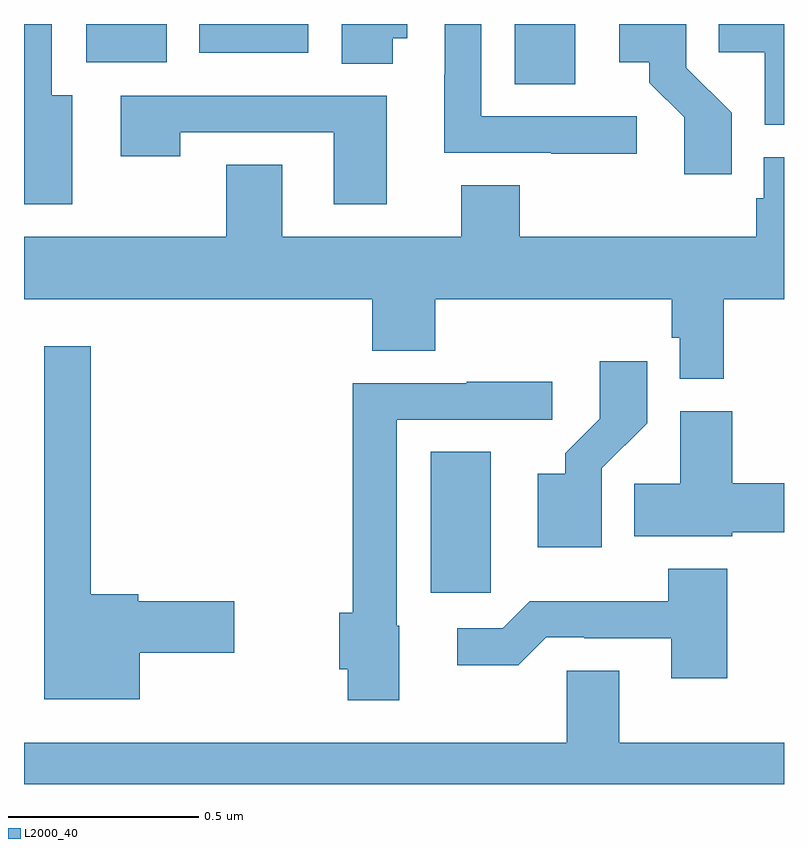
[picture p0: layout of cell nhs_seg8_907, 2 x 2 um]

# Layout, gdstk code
import gdstk
lib = gdstk.Library(unit=1e-6, precision=1e-09)
def R(c, l, rs):  # rectangles x0, y0, x1, y1
    for r in rs: c.add(gdstk.rectangle(r[:2], r[2:], *l))
def P(c, l, *ps):  # polygons
    for p in ps: c.add(gdstk.Polygon(p, *l))
L2000_40 = (2000, 40)

nhs_seg8_907 = lib.new_cell('nhs_seg8_907')
R(nhs_seg8_907, L2000_40, [(124.07,1106.403,124.228,1106.774), (124.292,1107.742,124.45,1107.9), (123.164,1107.8,123.376,1107.9), (123.461,1107.824,123.748,1107.9)])
P(nhs_seg8_907, L2000_40, [(124.862,1107.666),(124.743,1107.785),(124.743,1107.9),(124.566,1107.9),(124.566,1107.8),(124.646,1107.8),(124.646,1107.745),(124.737,1107.655),(124.737,1107.504),(124.862,1107.504)],
  [(123.97,1107.863),(124.009,1107.863),(124.009,1107.9),(123.836,1107.9),(123.836,1107.796),(123.97,1107.796)],
  [(123.127,1107.712),(123.073,1107.712),(123.073,1107.9),(123,1107.9),(123,1107.426),(123.127,1107.426)],
  [(124.612,1107.657),(124.203,1107.657),(124.203,1107.9),(124.107,1107.9),(124.107,1107.767),(124.106,1107.767),(124.106,1107.561),(124.387,1107.561),(124.387,1107.559),(124.612,1107.559)],
  [(125,1107.9),(124.828,1107.9),(124.828,1107.826),(124.949,1107.826),(124.949,1107.635),(125,1107.635)],
  [(123.955,1107.711),(123.255,1107.711),(123.255,1107.552),(123.411,1107.552),(123.411,1107.615),(123.815,1107.615),(123.815,1107.426),(123.955,1107.426)],
  [(124.841,1107.176),(125,1107.176),(125,1107.55),(124.947,1107.55),(124.947,1107.441),(124.927,1107.441),(124.927,1107.34),(124.304,1107.34),(124.304,1107.476),(124.151,1107.476),(124.151,1107.34),(123.679,1107.34),(123.679,1107.53),(123.532,1107.53),(123.532,1107.34),(123,1107.34),(123,1107.176),(123.917,1107.176),(123.917,1107.04),(124.082,1107.04),(124.082,1107.176),(124.705,1107.176),(124.705,1107.075),(124.725,1107.075),(124.725,1106.966),(124.841,1106.966)],
  [(123.304,1106.246),(123.553,1106.246),(123.553,1106.381),(123.3,1106.381),(123.3,1106.399),(123.175,1106.399),(123.175,1107.052),(123.053,1107.052),(123.053,1106.123),(123.304,1106.123)],
  [(124.521,1106.731),(124.64,1106.85),(124.64,1107.013),(124.515,1107.013),(124.515,1106.861),(124.424,1106.771),(124.424,1106.716),(124.352,1106.716),(124.352,1106.523),(124.521,1106.523)],
  [(123.988,1106.316),(123.981,1106.316),(123.981,1106.859),(124.39,1106.859),(124.39,1106.958),(124.165,1106.958),(124.165,1106.955),(123.865,1106.955),(123.865,1106.351),(123.83,1106.351),(123.83,1106.202),(123.852,1106.202),(123.852,1106.12),(123.988,1106.12)],
  [(124.864,1106.563),(125,1106.563),(125,1106.692),(124.864,1106.692),(124.864,1106.881),(124.727,1106.881),(124.727,1106.69),(124.606,1106.69),(124.606,1106.552),(124.864,1106.552)],
  [(124.851,1106.467),(124.696,1106.467),(124.696,1106.381),(124.331,1106.381),(124.26,1106.31),(124.14,1106.31),(124.14,1106.213),(124.301,1106.213),(124.374,1106.286),(124.474,1106.286),(124.474,1106.283),(124.703,1106.283),(124.703,1106.178),(124.851,1106.178)],
  [(125,1106.008),(124.567,1106.008),(124.567,1106.198),(124.428,1106.198),(124.428,1106.008),(123,1106.008),(123,1105.9),(125,1105.9)])

lib.write_gds('nhs_seg8_907.gds')
